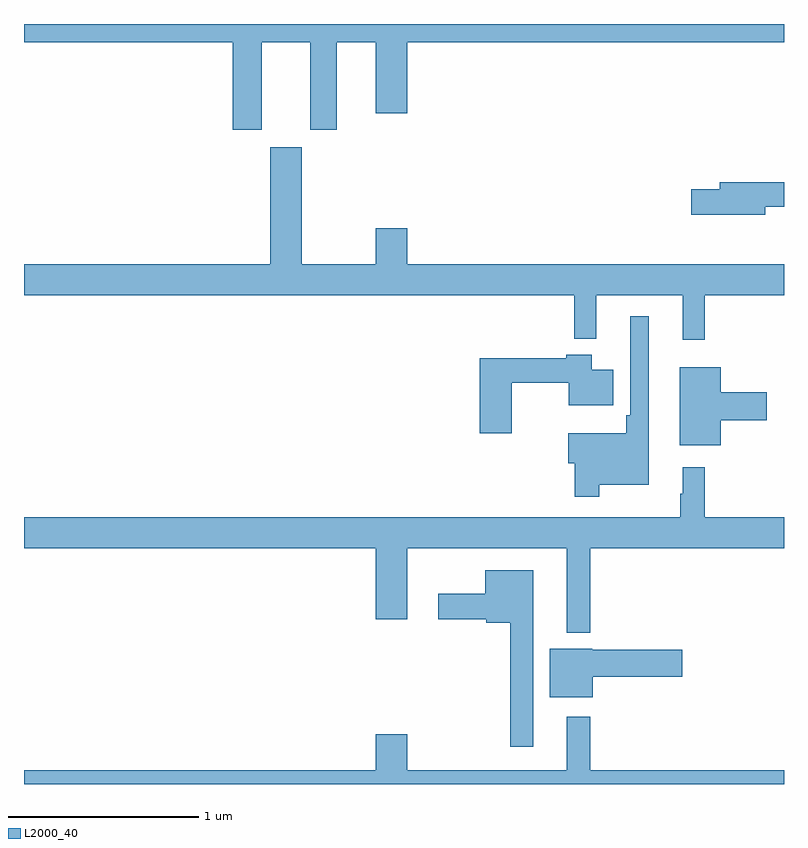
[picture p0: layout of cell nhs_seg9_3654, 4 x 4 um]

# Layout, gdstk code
import gdstk
lib = gdstk.Library(unit=1e-6, precision=1e-09)
def P(c, l, *ps):  # polygons
    for p in ps: c.add(gdstk.Polygon(p, *l))
L2000_40 = (2000, 40)

nhs_seg9_3654 = lib.new_cell('nhs_seg9_3654')
P(nhs_seg9_3654, L2000_40, [(319,1212.404),(320.099,1212.404),(320.099,1211.943),(320.251,1211.943),(320.251,1212.404),(320.507,1212.404),(320.507,1211.943),(320.647,1211.943),(320.647,1212.404),(320.852,1212.404),(320.852,1212.03),(321.016,1212.03),(321.016,1212.404),(323,1212.404),(323,1212.5),(319,1212.5)],
  [(322.583,1211.072),(323,1211.072),(323,1211.236),(321.016,1211.236),(321.016,1211.425),(320.852,1211.425),(320.852,1211.236),(320.461,1211.236),(320.461,1211.851),(320.297,1211.851),(320.297,1211.236),(319,1211.236),(319,1211.072),(321.895,1211.072),(321.895,1210.844),(322.013,1210.844),(322.013,1211.072),(322.466,1211.072),(322.466,1210.839),(322.583,1210.839)],
  [(322.9,1211.538),(323,1211.538),(323,1211.666),(322.661,1211.666),(322.661,1211.63),(322.512,1211.63),(322.512,1211.495),(322.9,1211.495)],
  [(322.027,1210.076),(322.288,1210.076),(322.288,1210.963),(322.191,1210.963),(322.191,1210.441),(322.171,1210.441),(322.171,1210.345),(321.864,1210.345),(321.864,1210.187),(321.898,1210.187),(321.898,1210.011),(322.027,1210.011)],
  [(321.568,1210.612),(321.866,1210.612),(321.866,1210.493),(322.102,1210.493),(322.102,1210.681),(321.988,1210.681),(321.988,1210.759),(321.854,1210.759),(321.854,1210.741),(321.398,1210.741),(321.398,1210.347),(321.568,1210.347)],
  [(322.666,1210.415),(322.909,1210.415),(322.909,1210.562),(322.666,1210.562),(322.666,1210.693),(322.451,1210.693),(322.451,1210.283),(322.666,1210.283)],
  [(321.979,1209.74),(323,1209.74),(323,1209.904),(322.583,1209.904),(322.583,1210.168),(322.466,1210.168),(322.466,1210.028),(322.455,1210.028),(322.455,1209.904),(319,1209.904),(319,1209.74),(320.852,1209.74),(320.852,1209.366),(321.016,1209.366),(321.016,1209.74),(321.857,1209.74),(321.857,1209.296),(321.979,1209.296)],
  [(321.679,1209.625),(321.428,1209.625),(321.428,1209.502),(321.18,1209.502),(321.18,1209.368),(321.432,1209.368),(321.432,1209.35),(321.558,1209.35),(321.558,1208.697),(321.679,1208.697)],
  [(321.994,1209.064),(322.465,1209.064),(322.465,1209.206),(321.99,1209.206),(321.99,1209.211),(321.767,1209.211),(321.767,1208.957),(321.994,1208.957)],
  [(323,1208.572),(321.979,1208.572),(321.979,1208.854),(321.857,1208.854),(321.857,1208.572),(321.016,1208.572),(321.016,1208.761),(320.852,1208.761),(320.852,1208.572),(319,1208.572),(319,1208.5),(323,1208.5)])

lib.write_gds('nhs_seg9_3654.gds')
